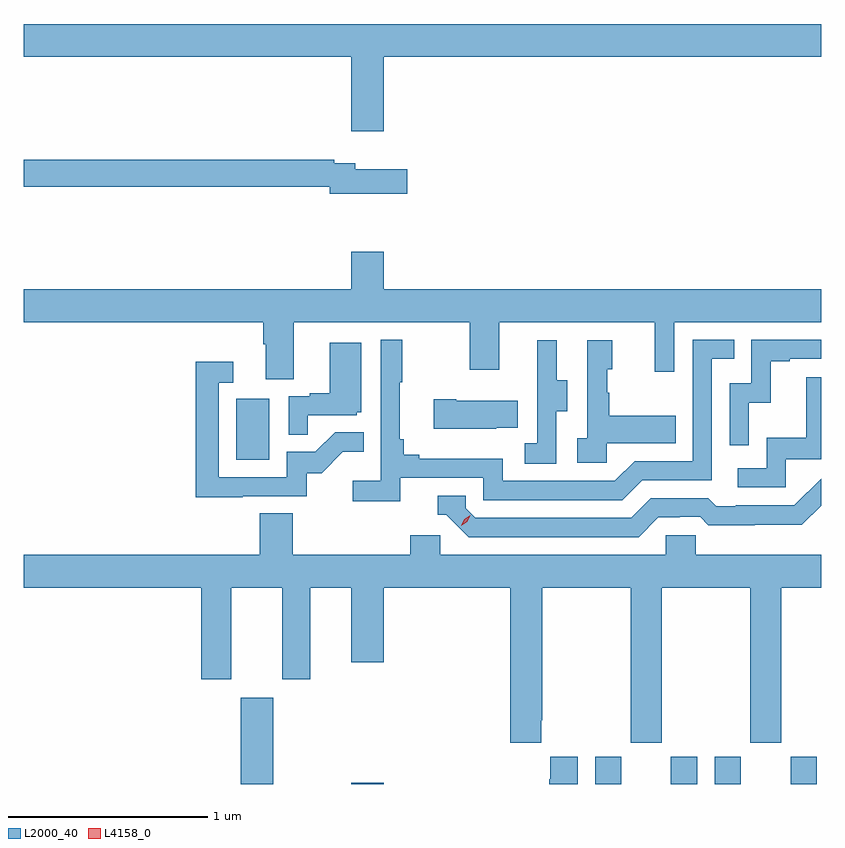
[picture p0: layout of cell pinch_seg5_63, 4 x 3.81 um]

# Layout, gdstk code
import gdstk
lib = gdstk.Library(unit=1e-6, precision=1e-09)
def R(c, l, rs):  # rectangles x0, y0, x1, y1
    for r in rs: c.add(gdstk.rectangle(r[:2], r[2:], *l))
def P(c, l, *ps):  # polygons
    for p in ps: c.add(gdstk.Polygon(p, *l))
L2000_40 = (2000, 40)
L4158_0 = (4158, 0)

pinch_seg5_63 = lib.new_cell('pinch_seg5_63')
R(pinch_seg5_63, L2000_40, [(1063.553,905.058,1063.717,905.491), (1064.108,905.058,1064.272,905.065), (1065.332,905.058,1065.463,905.194), (1065.713,905.058,1065.844,905.194), (1065.932,905.058,1066.063,905.194), (1066.313,905.058,1066.444,905.194), (1063.532,906.684,1063.696,906.991)])
P(pinch_seg5_63, L2000_40, [(1064.272,908.708),(1066.466,908.708),(1066.466,908.872),(1062.466,908.872),(1062.466,908.708),(1064.108,908.708),(1064.108,908.334),(1064.272,908.334)],
  [(1064.389,908.143),(1064.128,908.143),(1064.128,908.172),(1064.024,908.172),(1064.024,908.192),(1062.466,908.192),(1062.466,908.056),(1064,908.056),(1064,908.021),(1064.389,908.021)],
  [(1063.819,907.376),(1064.704,907.376),(1064.704,907.137),(1064.851,907.137),(1064.851,907.376),(1065.632,907.376),(1065.632,907.128),(1065.729,907.128),(1065.729,907.376),(1066.466,907.376),(1066.466,907.54),(1064.272,907.54),(1064.272,907.729),(1064.108,907.729),(1064.108,907.54),(1062.466,907.54),(1062.466,907.376),(1063.667,907.376),(1063.667,907.264),(1063.679,907.264),(1063.679,907.09),(1063.819,907.09)],
  [(1064.354,906.594),(1064.772,906.594),(1064.772,906.483),(1065.469,906.483),(1065.568,906.582),(1065.918,906.582),(1065.918,907.191),(1066.031,907.191),(1066.031,907.287),(1065.822,907.287),(1065.822,906.678),(1065.531,906.678),(1065.432,906.579),(1064.868,906.579),(1064.868,906.691),(1064.449,906.691),(1064.449,906.71),(1064.372,906.71),(1064.372,906.787),(1064.353,906.787),(1064.353,907.075),(1064.365,907.075),(1064.365,907.288),(1064.256,907.288),(1064.256,906.58),(1064.115,906.58),(1064.115,906.478),(1064.354,906.478)],
  [(1066.104,906.971),(1066.214,906.971),(1066.214,907.179),(1066.309,907.179),(1066.309,907.191),(1066.466,907.191),(1066.466,907.287),(1066.116,907.287),(1066.116,907.068),(1066.008,907.068),(1066.008,906.759),(1066.104,906.759)],
  [(1065.39,906.767),(1065.737,906.767),(1065.737,906.907),(1065.403,906.907),(1065.403,907.022),(1065.393,907.022),(1065.393,907.14),(1065.418,907.14),(1065.418,907.285),(1065.294,907.285),(1065.294,906.794),(1065.243,906.794),(1065.243,906.669),(1065.39,906.669)],
  [(1065.138,906.928),(1065.193,906.928),(1065.193,907.083),(1065.139,907.083),(1065.139,907.285),(1065.041,907.285),(1065.041,907.071),(1065.042,907.071),(1065.042,906.767),(1064.979,906.767),(1064.979,906.664),(1065.138,906.664)],
  [(1063.889,906.909),(1064.136,906.909),(1064.136,906.924),(1064.158,906.924),(1064.158,907.273),(1064,907.273),(1064,907.018),(1063.901,907.018),(1063.901,907.005),(1063.794,907.005),(1063.794,906.811),(1063.889,906.811)],
  [(1063.565,906.501),(1063.884,906.501),(1063.884,906.618),(1063.96,906.618),(1064.067,906.725),(1064.171,906.725),(1064.171,906.824),(1064.027,906.824),(1063.929,906.726),(1063.785,906.726),(1063.785,906.597),(1063.443,906.597),(1063.443,907.071),(1063.516,907.071),(1063.516,907.177),(1063.327,907.177),(1063.327,906.496),(1063.565,906.496)],
  [(1066.29,906.687),(1066.466,906.687),(1066.466,907.099),(1066.393,907.099),(1066.393,906.796),(1066.194,906.796),(1066.194,906.642),(1066.047,906.642),(1066.047,906.546),(1066.29,906.546)],
  [(1064.837,906.845),(1064.945,906.845),(1064.945,906.982),(1064.635,906.982),(1064.635,906.99),(1064.523,906.99),(1064.523,906.842),(1064.837,906.842)],
  [(1065.649,906.396),(1065.756,906.396),(1065.756,906.399),(1065.859,906.399),(1065.901,906.357),(1066.134,906.357),(1066.134,906.359),(1066.37,906.359),(1066.466,906.455),(1066.466,906.59),(1066.332,906.456),(1066.039,906.456),(1066.039,906.453),(1065.94,906.453),(1065.901,906.492),(1065.612,906.492),(1065.513,906.393),(1064.73,906.393),(1064.682,906.441),(1064.682,906.504),(1064.543,906.504),(1064.543,906.408),(1064.586,906.408),(1064.697,906.297),(1065.55,906.297)],
  [(1065.687,906.306),(1065.687,906.208),(1064.556,906.208),(1064.556,906.306),(1064.405,906.306),(1064.405,906.208),(1063.814,906.208),(1063.814,906.416),(1063.649,906.416),(1063.649,906.208),(1062.466,906.208),(1062.466,906.044),(1063.355,906.044),(1063.355,905.583),(1063.507,905.583),(1063.507,906.044),(1063.763,906.044),(1063.763,905.583),(1063.903,905.583),(1063.903,906.044),(1064.108,906.044),(1064.108,905.67),(1064.272,905.67),(1064.272,906.044),(1064.906,906.044),(1064.906,905.265),(1065.061,905.265),(1065.061,905.377),(1065.066,905.377),(1065.066,906.044),(1065.511,906.044),(1065.511,905.265),(1065.666,905.265),(1065.666,906.044),(1066.111,906.044),(1066.111,905.265),(1066.266,905.265),(1066.266,906.044),(1066.466,906.044),(1066.466,906.208),(1065.837,906.208),(1065.837,906.306)],
  [(1065.244,905.194),(1065.107,905.194),(1065.107,905.081),(1065.101,905.081),(1065.101,905.058),(1065.244,905.058)])
P(pinch_seg5_63, L4158_0, [(1064.66,906.353),(1064.66,906.354),(1064.675,906.387),(1064.706,906.407),(1064.706,906.407),(1064.706,906.407),(1064.691,906.374),(1064.66,906.353)])

lib.write_gds('pinch_seg5_63.gds')
